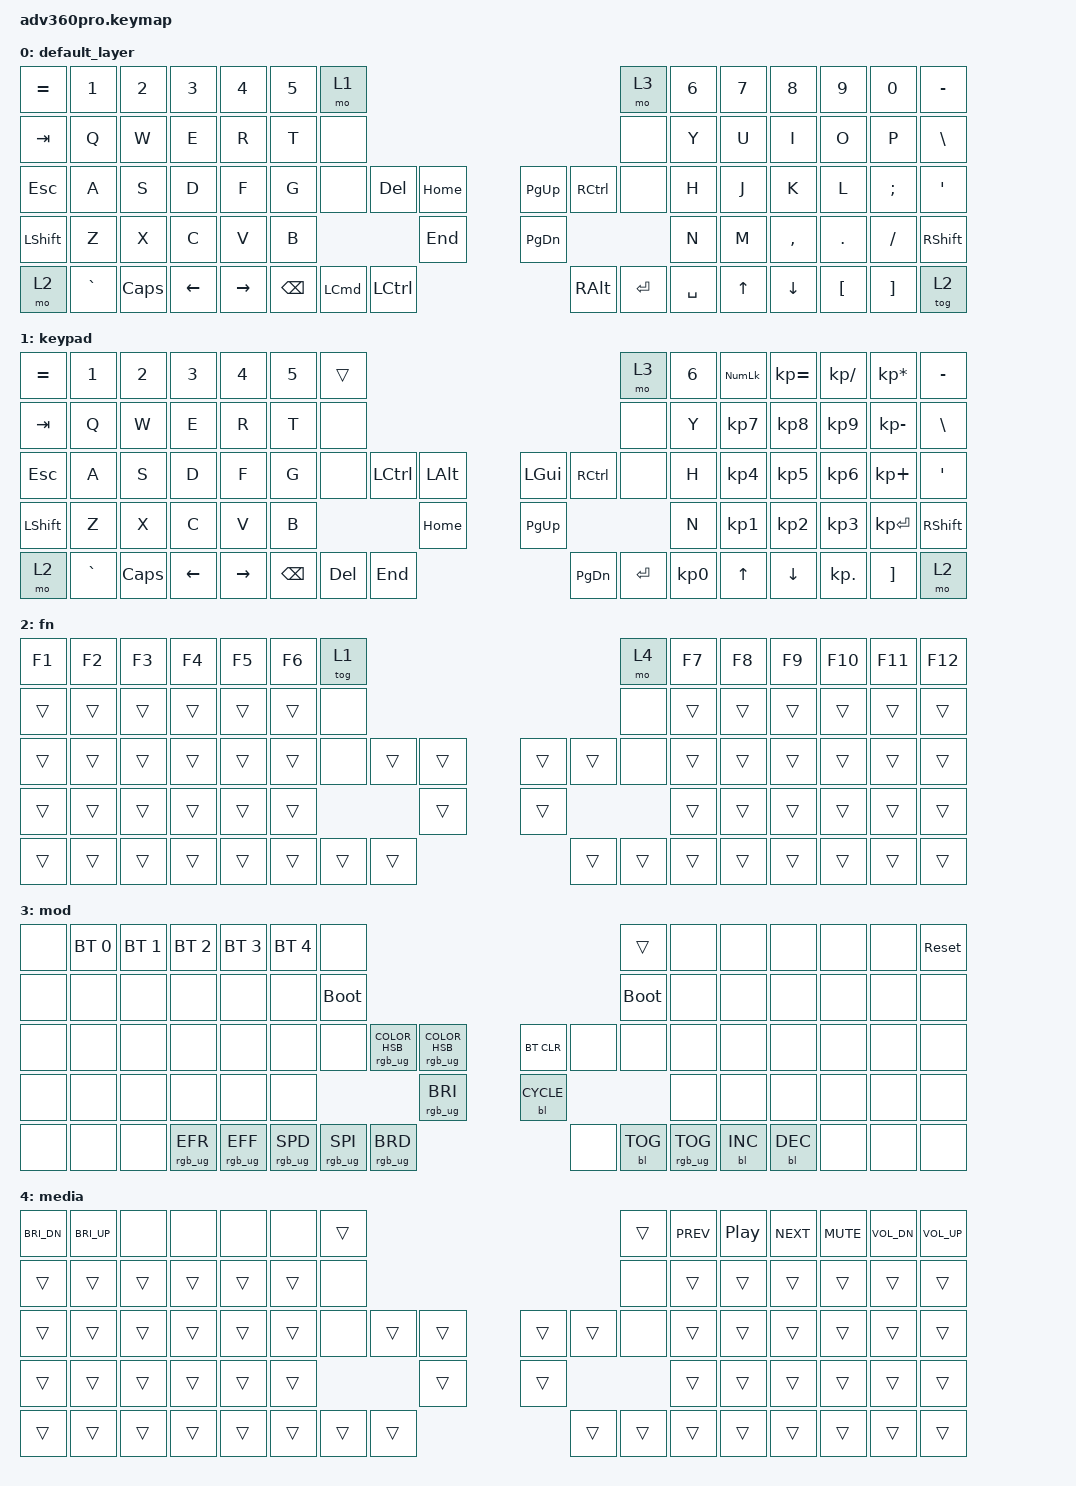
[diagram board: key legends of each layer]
#include <behaviors.dtsi>
#include <dt-bindings/zmk/backlight.h>
#include <dt-bindings/zmk/bt.h>
#include <dt-bindings/zmk/keys.h>
#include <dt-bindings/zmk/rgb.h>

/ {
    keymap {
        compatible = "zmk,keymap";

        default_layer {
            bindings = <
&kp EQUAL  &kp N1     &kp N2    &kp N3    &kp N4     &kp N5  &mo 1                                                                                       &mo 3  &kp N6  &kp N7  &kp N8     &kp N9    &kp N0    &kp MINUS
&kp TAB    &kp Q      &kp W     &kp E     &kp R      &kp T   &none                                                                                       &none  &kp Y   &kp U   &kp I      &kp O     &kp P     &kp BSLH
&kp ESC    &kp A      &kp S     &kp D     &kp F      &kp G   &none            &kp DEL           &kp HOME            &kp PAGE_UP    &kp RCTRL             &none  &kp H   &kp J   &kp K      &kp L     &kp SEMI  &kp SQT
&kp LSHFT  &kp Z      &kp X     &kp C     &kp V      &kp B                                      &kp END             &kp PAGE_DOWN                               &kp N   &kp M   &kp COMMA  &kp DOT   &kp FSLH  &kp RSHFT
&mo 2      &kp GRAVE  &kp CAPS  &kp LEFT  &kp RIGHT                 &kp BSPC  &kp LEFT_COMMAND  &kp LEFT_CONTROL    &kp RIGHT_ALT  &kp ENTER  &kp SPACE                 &kp UP  &kp DOWN   &kp LBKT  &kp RBKT  &tog 2
            >;
        };

        keypad {
            bindings = <
&kp EQUAL  &kp N1     &kp N2    &kp N3    &kp N4     &kp N5  &trans                                                                    &mo 3  &kp N6  &kp KP_NUM  &kp KP_EQUAL  &kp KP_DIVIDE  &kp KP_MULTIPLY  &kp MINUS
&kp TAB    &kp Q      &kp W     &kp E     &kp R      &kp T   &none                                                                     &none  &kp Y   &kp KP_N7   &kp KP_N8     &kp KP_N9      &kp KP_MINUS     &kp BSLH
&kp ESC    &kp A      &kp S     &kp D     &kp F      &kp G   &none             &kp LCTRL  &kp LALT    &kp LGUI   &kp RCTRL             &none  &kp H   &kp KP_N4   &kp KP_N5     &kp KP_N6      &kp KP_PLUS      &kp SQT
&kp LSHFT  &kp Z      &kp X     &kp C     &kp V      &kp B                                &kp HOME    &kp PG_UP                               &kp N   &kp KP_N1   &kp KP_N2     &kp KP_N3      &kp KP_ENTER     &kp RSHFT
&mo 2      &kp GRAVE  &kp CAPS  &kp LEFT  &kp RIGHT                  &kp BSPC  &kp DEL    &kp END     &kp PG_DN  &kp ENTER  &kp KP_N0                 &kp UP      &kp DOWN      &kp KP_DOT     &kp RBKT         &mo 2
            >;
        };

        fn {
            bindings = <
&kp F1  &kp F2  &kp F3  &kp F4  &kp F5  &kp F6  &tog 1                                                    &mo 4  &kp F7  &kp F8  &kp F9  &kp F10  &kp F11  &kp F12
&trans  &trans  &trans  &trans  &trans  &trans  &none                                                     &none  &trans  &trans  &trans  &trans   &trans   &trans
&trans  &trans  &trans  &trans  &trans  &trans  &none           &trans  &trans    &trans  &trans          &none  &trans  &trans  &trans  &trans   &trans   &trans
&trans  &trans  &trans  &trans  &trans  &trans                          &trans    &trans                         &trans  &trans  &trans  &trans   &trans   &trans
&trans  &trans  &trans  &trans  &trans                  &trans  &trans  &trans    &trans  &trans  &trans                 &trans  &trans  &trans   &trans   &trans
            >;
        };

        mod {
            bindings = <
&none  &bt BT_SEL 0  &bt BT_SEL 1  &bt BT_SEL 2     &bt BT_SEL 3     &bt BT_SEL 4  &none                                                                                                        &trans       &none  &none       &none       &none  &none  &sys_reset
&none  &none         &none         &none            &none            &none         &bootloader                                                                                                  &bootloader  &none  &none       &none       &none  &none  &none
&none  &none         &none         &none            &none            &none         &none                         &rgb_ug RGB_COLOR_HSB(216,63,62)  &rgb_ug RGB_COLOR_HSB(242,46,51)    &bt BT_CLR    &none                        &none        &none  &none       &none       &none  &none  &none
&none  &none         &none         &none            &none            &none                                                        &rgb_ug RGB_BRI    &bl BL_CYCLE                                            &none  &none       &none       &none  &none  &none
&none  &none         &none         &rgb_ug RGB_EFR  &rgb_ug RGB_EFF                             &rgb_ug RGB_SPD  &rgb_ug RGB_SPI  &rgb_ug RGB_BRD    &none         &bl BL_TOG  &rgb_ug RGB_TOG                      &bl BL_INC  &bl BL_DEC  &none  &none  &none
            >;
        };

        media {
            bindings = <
&kp C_BRI_DN  &kp C_BRI_UP  &none  &none  &none  &none  &trans                                                    &trans  &kp C_PREV  &kp C_PP  &kp C_NEXT  &kp C_MUTE  &kp C_VOL_DN  &kp C_VOL_UP
&trans        &trans        &trans &trans &trans &trans &none                                                     &none   &trans      &trans    &trans      &trans      &trans        &trans
&trans        &trans        &trans &trans &trans &trans &none           &trans  &trans    &trans  &trans          &none   &trans      &trans    &trans      &trans      &trans        &trans
&trans        &trans        &trans &trans &trans &trans                         &trans    &trans                          &trans      &trans    &trans      &trans      &trans        &trans
&trans        &trans        &trans &trans &trans                &trans  &trans  &trans    &trans  &trans  &trans                      &trans    &trans      &trans      &trans        &trans
            >;
        };
    };
};
